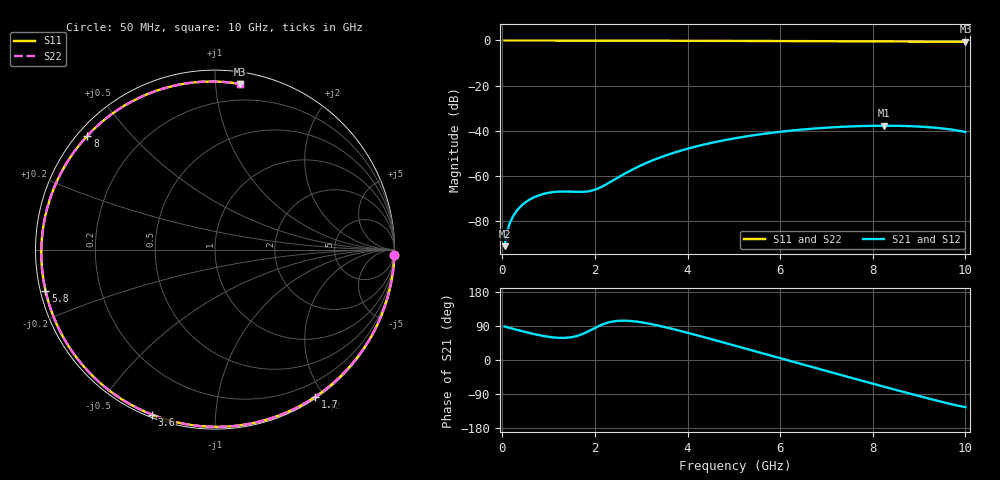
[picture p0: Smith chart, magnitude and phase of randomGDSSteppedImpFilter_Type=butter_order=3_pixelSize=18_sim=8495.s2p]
! freq	dB(S11)	phase(S11)	dB(S12)	phase(S12)
!  dB(S21)	phase(S21)	dB(S22)	phase(S22)
!S-par simulation data
#  GHz  S  DB  R 50
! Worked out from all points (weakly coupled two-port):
!   200 points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, 50 MHz to 10 GHz, reference 50 ohm
!   highest |S21| = -37.79 dB at 8.25 GHz (marker M1); lowest = -91.1 dB at 50 MHz (marker M2)
!   lowest |S11| = -0.6 dB at 10 GHz (marker M3), VSWR 28.98, Z = 4.04 + j57.8 ohm
!   |S11| at or under -10 dB: nowhere
!   |S22| runs from -0.6 to 0.0 dB; largest |S21 - S12| = 0
!   S11 on the Smith chart (normalised r, x): 50 MHz: 1, -67; 1.7 GHz: 0.02, -1.89; 3.6 GHz: 0.01, -0.69; 5.8 GHz: 0.01, -0.12; 8 GHz: 0.03, +0.38; 10 GHz: 0.08, +1.16
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0.05  -0.00 -1.7  -91.15 88.3  -91.15 88.3  -0.00 -1.7
0.15  -0.01 -5.1  -81.65 85.0  -81.65 85.0  -0.01 -5.1
0.35  -0.02 -11.9  -74.52 78.4  -74.52 78.4  -0.02 -11.8
0.45  -0.02 -15.2  -72.52 75.3  -72.52 75.3  -0.02 -15.2
0.75  -0.03 -25.2  -68.93 66.7  -68.93 66.7  -0.03 -25.2
1.15  -0.05 -38.3  -67.08 59.0  -67.08 59.0  -0.05 -38.3
1.7  -0.07 -55.8  -67.11 67.0  -67.11 67.0  -0.07 -55.9
1.75  -0.07 -57.4  -67.08 69.5  -67.08 69.5  -0.07 -57.4
2.05  -0.08 -66.6  -65.73 87.8  -65.73 87.8  -0.08 -66.7
2.55  -0.10 -81.5  -60.10 103.7  -60.10 103.7  -0.10 -81.5
3.4  -0.13 -105.4  -51.90 90.0  -51.90 90.0  -0.13 -105.4
3.6  -0.14 -110.8  -50.45 84.3  -50.45 84.3  -0.14 -110.8
4.35  -0.17 -130.4  -46.14 60.4  -46.14 60.4  -0.17 -130.4
5.05  -0.20 -147.9  -43.25 36.9  -43.25 36.9  -0.20 -148.0
5.8  -0.25 -166.4  -40.97 11.5  -40.97 11.5  -0.25 -166.4
6.7  -0.31 171.5  -39.09 -19.0  -39.09 -19.0  -0.31 171.4
7.35  -0.36 155.2  -38.24 -40.9  -38.24 -40.9  -0.36 155.1
8  -0.42 138.3  -37.83 -62.5  -37.83 -62.5  -0.42 138.2
8.25  -0.44 131.6  -37.79 -70.7  -37.79 -70.7  -0.44 131.5
8.35  -0.45 128.9  -37.79 -74.0  -37.79 -74.0  -0.45 128.8
9.2  -0.52 105.1  -38.41 -101.5  -38.41 -101.5  -0.52 105.0
10  -0.60 81.5  -40.56 -124.5  -40.56 -124.5  -0.60 81.4
